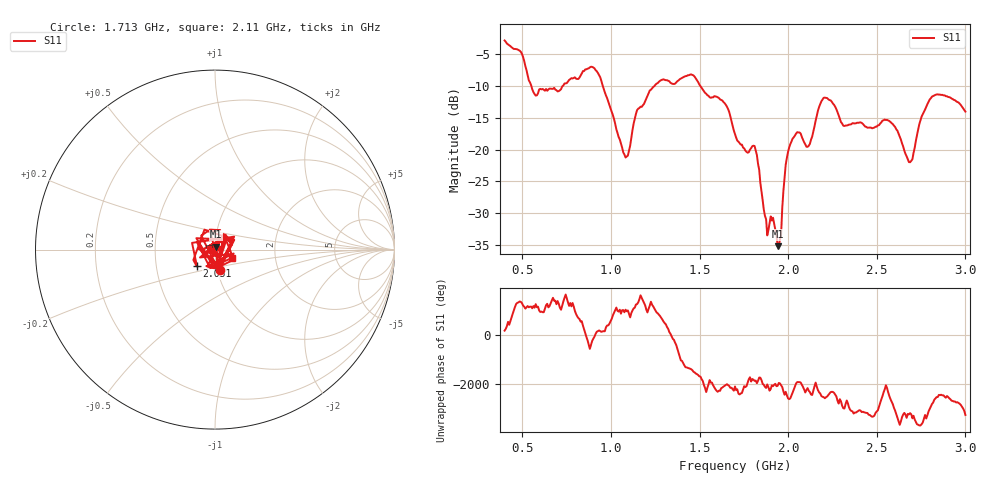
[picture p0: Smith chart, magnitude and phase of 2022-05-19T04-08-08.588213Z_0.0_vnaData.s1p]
!Created with skrf (http://scikit-rf.org).
# Hz S RI R 50.0
!freq ReS11 ImS11
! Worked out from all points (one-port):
!   401 points, 400 MHz to 3 GHz, reference 50 ohm
!   lowest |S11| = -35.2 dB at 1.94 GHz (marker M1), VSWR 1.04, Z = 50.7 + j1.62 ohm
!   |S11| at or under -10 dB: 550.7 MHz to 728.3 MHz (177.5 MHz wide, 27.8 % of centre); 954 MHz to 1.246 GHz (291.7 MHz wide, 26.5 % of centre); 1.504 GHz to end of sweep
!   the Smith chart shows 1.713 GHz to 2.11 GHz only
!   S11 on the Smith chart (normalised r, x): 1.713 GHz: 1.03, -0.24; 2.051 GHz: 0.80, -0.15; 2.11 GHz: 1.20, -0.11
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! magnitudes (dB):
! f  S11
! 400 MHz  -2.8
! 491 MHz  -4.6
! 569 MHz  -11.3
! 725 MHz  -10.1
! 907 MHz  -7.2
! 1.05 GHz  -18.4
! 1.089 GHz  -21.1
! 1.147 GHz  -13.8
! 1.226 GHz  -10.6
! 1.375 GHz  -9.2
! 1.46 GHz  -8.3
! 1.629 GHz  -12.3
! 1.7 GHz  -17.6
! 1.713 GHz  -18.6
! 1.81 GHz  -19.4
! 1.875 GHz  -31.0
! 1.94 GHz  -35.2
! 1.954 GHz  -34.2
! 1.992 GHz  -21.4
! 2.025 GHz  -18.3
! 2.051 GHz  -17.3
! 2.11 GHz  -19.6
! 2.207 GHz  -11.8
! 2.35 GHz  -16.1
! 2.571 GHz  -15.5
! 2.675 GHz  -21.5
! 2.812 GHz  -11.7
! 3 GHz  -14.0
